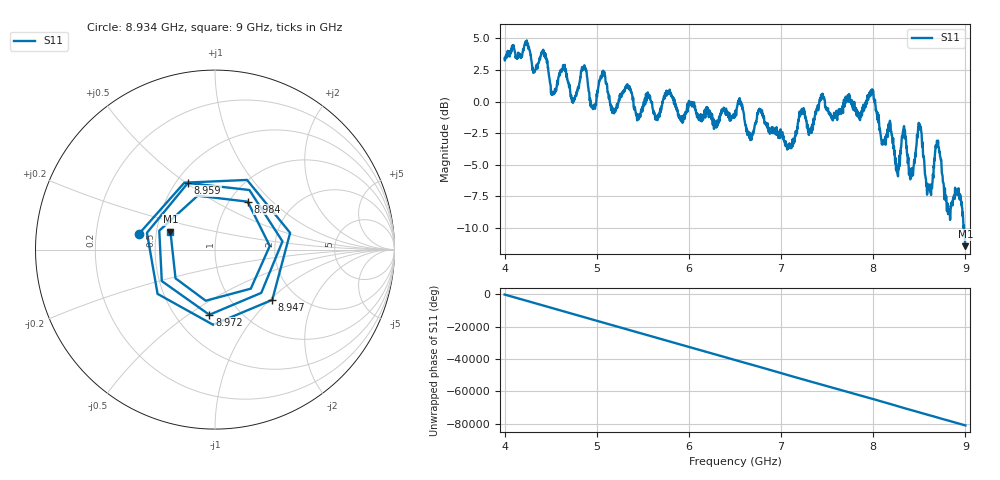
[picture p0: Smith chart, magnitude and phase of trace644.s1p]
! Created with skrf 1.8.0 (http://scikit-rf.org).
# Hz S RI R 50.0
!freq ReS11 ImS11
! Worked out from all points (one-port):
!   1601 points, 4 GHz to 9 GHz, reference 50 ohm
!   lowest |S11| = -11.4 dB at 9 GHz (marker M1), VSWR 1.73, Z = 29.6 + j6.43 ohm
!   |S11| at or under -10 dB: 8.980816 GHz to 8.981293 GHz (476.9 kHz wide, 0.00531 % of centre); 8.985593 GHz to end of sweep
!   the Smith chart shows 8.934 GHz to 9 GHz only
!   S11 on the Smith chart (normalised r, x): 8.934 GHz: 0.40, +0.09; 8.947 GHz: 1.51, -1.03; 8.959 GHz: 0.57, +0.51; 8.972 GHz: 0.73, -0.61; 8.984 GHz: 1.21, +0.72; 9 GHz: 0.59, +0.13
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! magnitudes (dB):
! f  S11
! 4 GHz  3.4
! 4.422 GHz  4.0
! 4.528 GHz  0.7
! 4.625 GHz  2.6
! 4.741 GHz  -0.1
! 4.862 GHz  2.8
! 4.956 GHz  -0.4
! 5.066 GHz  2.4
! 5.25 GHz  0.5
! 5.875 GHz  -0.7
! 6.5 GHz  -0.9
! 7.125 GHz  -3.5
! 7.225 GHz  -0.6
! 7.75 GHz  -0.1
! 7.988 GHz  1.0
! 8.1 GHz  -3.1
! 8.375 GHz  -4.9
! 8.425 GHz  -5.8
! 8.5 GHz  -2.0
! 8.603 GHz  -6.5
! 8.697 GHz  -3.2
! 8.812 GHz  -8.9
! 8.934 GHz  -7.3
! 8.947 GHz  -7.4
! 8.959 GHz  -7.9
! 8.972 GHz  -8.8
! 8.984 GHz  -9.8
! 9 GHz  -11.4
